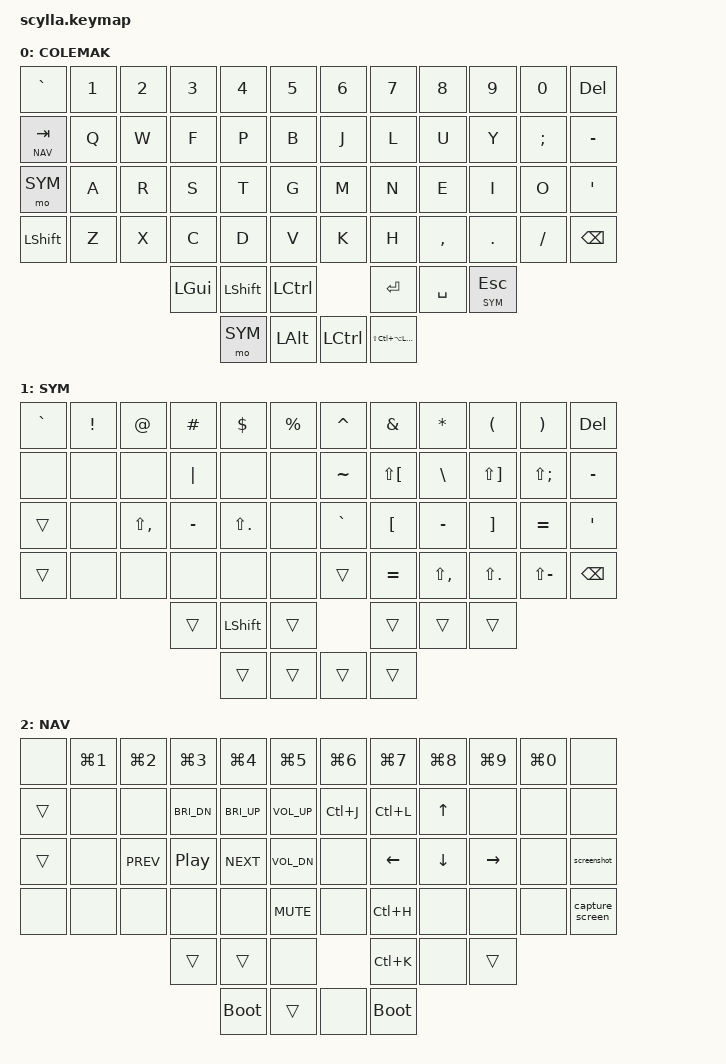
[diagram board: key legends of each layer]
#include <behaviors.dtsi>
#include <dt-bindings/zmk/keys.h>
#include <dt-bindings/zmk/bt.h>

#define COLEMAK 0
#define SYM 1
#define NAV 2

#define AS(keycode) &as LS(keycode) keycode

&lt {
  tapping-term-ms = <150>;
};

/ {
  behaviors {
    as: auto_shift {
      compatible = "zmk,behavior-hold-tap";
      label = "AUTO_SHIFT";
      #binding-cells = <2>;
      tapping_term_ms = <135>;
      quick_tap_ms = <0>;
      flavor = "tap-preferred";
      bindings = <&kp>, <&kp>;
    };
  };

  macros {
    ZMK_MACRO(screenshot,
      wait-ms = <30>;
      tap-ms = <40>;
      bindings = <&macro_press &kp LGUI &kp LSHIFT>, <&macro_tap &kp N3>, <&macro_release &kp LSHIFT &kp LGUI>;
    )
    ZMK_MACRO(capture_screen,
      wait-ms = <30>;
      tap-ms = <40>;
      bindings = <&macro_press &kp LGUI &kp LSHIFT>, <&macro_tap &kp N4>, <&macro_release &kp LSHIFT &kp LGUI>;
    )
  };

  keymap {
    compatible = "zmk,keymap";

    COLEMAK {
      bindings = <
      &kp GRAVE               &kp N1   &kp N2 &kp N3      &kp N4        &kp N5          &kp N6        &kp N7         &kp N8       &kp N9       &kp N0       &kp DEL
      &lt NAV TAB             &kp Q    &kp W  &kp F       &kp P         &kp B           &kp J         &kp L          &kp U        &kp Y        &kp SEMI     &kp MINUS
      &mo SYM                 &kp A    &kp R  &kp S       &kp T         &kp G           &kp M         &kp N          &kp E        &kp I        &kp O        &kp SQT
      &kp LSHIFT              &kp Z    &kp X  &kp C       &kp D         &kp V           &kp K         &kp H          &kp COMMA    &kp DOT      &kp SLASH    &kp BSPC
                                                   &kp LGUI    &kp LSHIFT    &kp LCTRL       &kp ENTER       &kp SPACE      &lt SYM ESC
                                                               &mo SYM       &kp LALT        &kp LCTRL       &kp LS(LC(LA(LGUI)))
      >;
    };

    SYM {
      bindings = <
      &kp GRAVE     &kp EXCL    &kp AT         &kp HASH   &kp DLLR    &kp PRCNT        &kp CARET     &kp AMPS       &kp STAR       &kp LPAR     &kp RPAR      &kp DEL
      &none         &none       &none          &kp PIPE   &none       &none            &kp TILDE     &kp LS(LBKT)   &kp BSLH       &kp LS(RBKT) &kp LS(SEMI)  &kp MINUS
      &trans        &none       &kp LS(COMMA)  &kp MINUS  &kp LS(DOT) &none            &kp GRAVE     &kp LBKT       &kp MINUS      &kp RBKT     &kp EQUAL     &kp SQT
      &trans        &none       &none          &none      &none       &none            &trans        &kp EQUAL      &kp LS(COMMA)  &kp LS(DOT)  &kp LS(MINUS) &kp BSPC
                                               &trans     &kp LSHIFT  &trans           &trans        &trans         &trans
                                                          &trans      &trans           &trans        &trans
      >;
    };

    NAV {
      bindings = <
      &none           &kp LG(N1)    &kp LG(N2)    &kp LG(N3)     &kp LG(N4)    &kp LG(N5)        &kp LG(N6)         &kp LG(N7)     &kp LG(N8)     &kp LG(N9)       &kp LG(N0)   &none
      &trans          &none         &none         &kp C_BRI_DN   &kp C_BRI_UP  &kp C_VOL_UP      &kp LC(J)          &kp LC(L)      &kp UP         &none            &none        &none
      &trans          &none         &kp C_PREV    &kp C_PP       &kp C_NEXT    &kp C_VOL_DN      &none              &kp LEFT       &kp DOWN       &kp RIGHT        &none        &screenshot
      &none           &none         &none         &none          &none         &kp K_MUTE        &none              &kp LC(H)      &none          &none            &none        &capture_screen
                                                  &trans         &trans        &none             &kp LC(K)          &none          &trans
                                                                 &bootloader   &trans            &none              &bootloader
      >;
    };
  };
};
